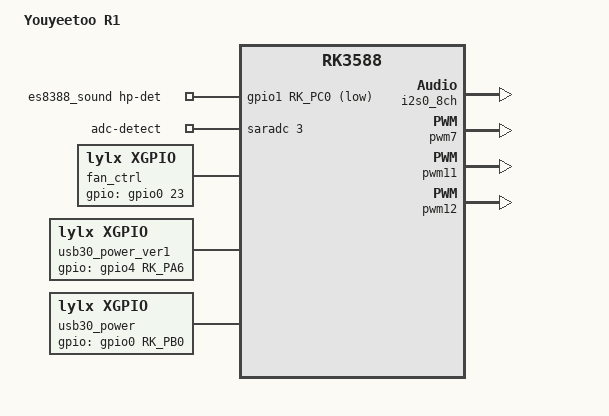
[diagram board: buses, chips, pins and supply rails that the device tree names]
// SPDX-License-Identifier: (GPL-2.0+ OR MIT)
/*
 * Copyright (c) 2021 Rockchip Electronics Co., Ltd.
 *
 */

/dts-v1/;

#include "rk3588s-yyt-common.dtsi"

/ {
    model = "Youyeetoo R1";
    compatible = "youyeetoo,r1", "rockchip,rk3588";

    /* AUDIO */

	es8388_sound: es8388-sound {
		status = "okay";
		compatible = "rockchip,multicodecs-card";
		rockchip,card-name = "rockchip-es8388";
        hp-det-gpio = <&gpio1 RK_PC0 GPIO_ACTIVE_LOW>;
		io-channels = <&saradc 3>;
		io-channel-names = "adc-detect";
		keyup-threshold-microvolt = <1800000>;
		poll-interval = <100>;
		rockchip,format = "i2s";
		rockchip,mclk-fs = <256>;
		rockchip,cpu = <&i2s0_8ch>;
		rockchip,codec = <&es8388>;
        rockchip,audio-routing =
            "Headphone", "LOUT1",
            "Headphone", "ROUT1",
            "Speaker", "LOUT1",
            "Speaker", "ROUT1",
            "Headphone", "Headphone Power",
            "Headphone", "Headphone Power",
            "Speaker", "Speaker Power",
            "Speaker", "Speaker Power",
            "LINPUT1", "Main Mic",
            "LINPUT2", "Main Mic",
            "RINPUT1", "Main Mic",
            "RINPUT2", "Main Mic";
		pinctrl-names = "default";
		pinctrl-0 = <&hp_det>;
		play-pause-key {
			label = "playpause";
			linux,code = <KEY_PLAYPAUSE>;
			press-threshold-microvolt = <2000>;
		};
	};

    fan_ctrl {
        compatible = "lylx,xgpio";
        gpio = <&gpio0 23 GPIO_ACTIVE_HIGH>;
        def_val = <0>;
        status = "okay";
    };     

    usb30_power_ver1 {
        compatible = "lylx,xgpio";
        gpio = <&gpio4 RK_PA6 GPIO_ACTIVE_HIGH>;
        def_val = <1>;
        status = "okay";
    };

    usb30_power {
        compatible = "lylx,xgpio";
        gpio = <&gpio0 RK_PB0 GPIO_ACTIVE_HIGH>;
        def_val = <1>;
        status = "okay";
    };
};

/* AUDIO */
&i2s0_8ch {
	status = "okay";
	pinctrl-0 = <&i2s0_lrck
		     &i2s0_sclk
		     &i2s0_sdi0
		     &i2s0_sdo0>;
};

&pwm7{
     pinctrl-0 = <&pwm7m0_pins>;
     status = "okay";
};

&pwm11 {
    pinctrl-0 = <&pwm11m1_pins>;
    pinctrl-names = "active";
    status = "okay";
};

&pwm12 {
     status = "okay";
     pinctrl-names = "active";
     pinctrl-0 = <&pwm12m1_pins>;
};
